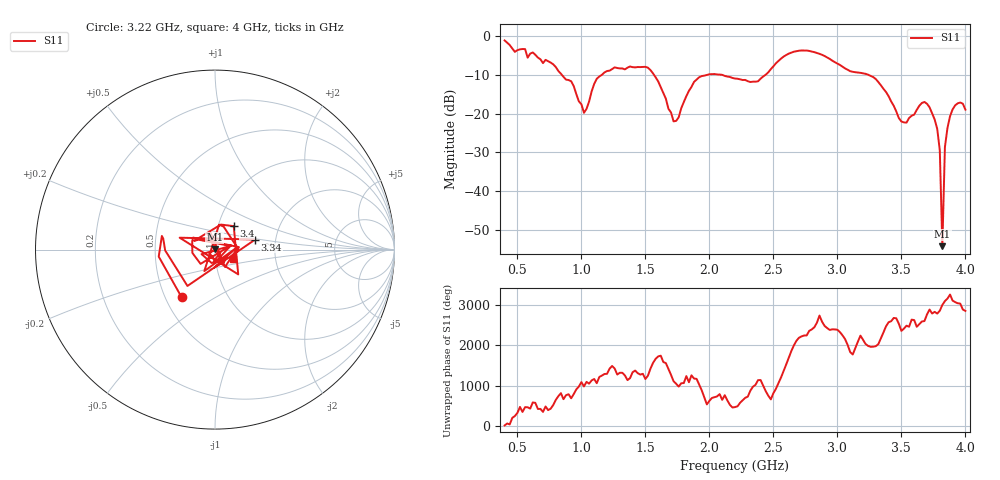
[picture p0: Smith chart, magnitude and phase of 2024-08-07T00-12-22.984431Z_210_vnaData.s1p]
!Created with skrf (http://scikit-rf.org).
# Hz S RI R 50.0
!freq ReS11 ImS11
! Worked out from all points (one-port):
!   181 points, 400 MHz to 4 GHz, reference 50 ohm
!   lowest |S11| = -54.1 dB at 3.82 GHz (marker M1), VSWR 1.00, Z = 49.9 + j0.172 ohm
!   |S11| at or under -10 dB: 1.566 GHz to 1.987 GHz (421.2 MHz wide, 23.7 % of centre); 2.09 GHz to 2.44 GHz (350.8 MHz wide, 15.5 % of centre); 3.239 GHz to end of sweep (the widest 3 of 4)
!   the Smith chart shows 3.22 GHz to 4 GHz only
!   S11 on the Smith chart (normalised r, x): 3.22 GHz: 0.61, -0.36; 3.34 GHz: 1.56, +0.19; 3.4 GHz: 1.19, +0.32; 4 GHz: 1.21, -0.13
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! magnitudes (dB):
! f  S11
! 400 MHz  -1.2
! 860 MHz  -10.6
! 920 MHz  -11.7
! 1.02 GHz  -19.8
! 1.12 GHz  -11.1
! 1.3 GHz  -8.4
! 1.52 GHz  -8.2
! 1.6 GHz  -11.7
! 1.72 GHz  -22.0
! 1.76 GHz  -21.0
! 1.92 GHz  -10.7
! 2.2 GHz  -11.0
! 2.38 GHz  -11.7
! 2.66 GHz  -4.1
! 3.1 GHz  -9.1
! 3.22 GHz  -9.8
! 3.34 GHz  -12.7
! 3.4 GHz  -15.5
! 3.5 GHz  -22.0
! 3.56 GHz  -21.1
! 3.68 GHz  -17.0
! 3.78 GHz  -23.9
! 3.8 GHz  -29.5
! 3.82 GHz  -54.1
! 3.84 GHz  -28.6
! 3.86 GHz  -23.7
! 3.92 GHz  -17.9
! 4 GHz  -19.0
